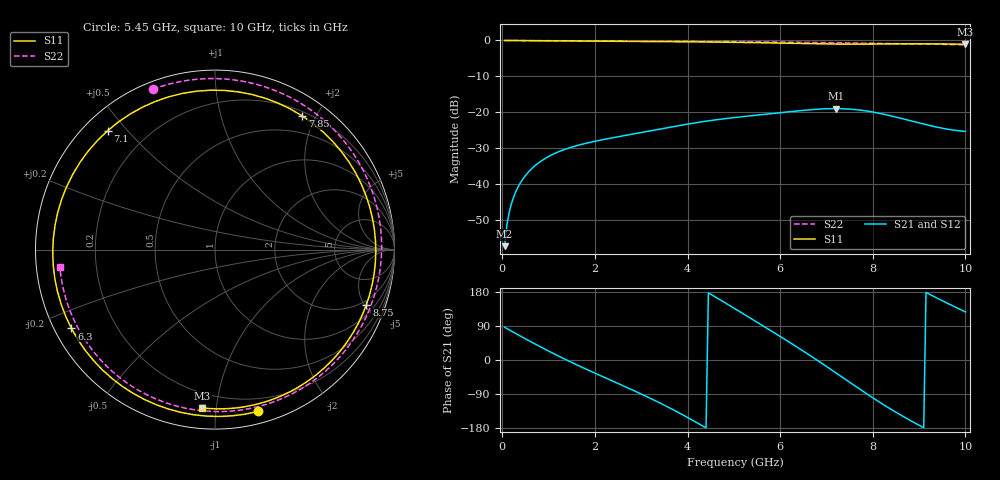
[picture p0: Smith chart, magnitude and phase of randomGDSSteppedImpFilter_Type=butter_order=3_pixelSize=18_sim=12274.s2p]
! freq	dB(S11)	phase(S11)	dB(S12)	phase(S12)
!  dB(S21)	phase(S21)	dB(S22)	phase(S22)
!S-par simulation data
#  GHz  S  DB  R 50
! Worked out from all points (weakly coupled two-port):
!   200 points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, 50 MHz to 10 GHz, reference 50 ohm
!   highest |S21| = -18.96 dB at 7.2 GHz (marker M1); lowest = -57.2 dB at 50 MHz (marker M2)
!   lowest |S11| = -1.1 dB at 10 GHz (marker M3), VSWR 16.38, Z = 5.64 - j45.9 ohm
!   |S11| at or under -10 dB: nowhere
!   |S22| runs from -1.2 to 0.0 dB; largest |S21 - S12| = 0
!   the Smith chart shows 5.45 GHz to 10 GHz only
!   S11 on the Smith chart (normalised r, x): 5.45 GHz: 0.09, -1.30; 6.3 GHz: 0.05, -0.26; 7.1 GHz: 0.07, +0.44; 7.85 GHz: 0.26, +1.82; 8.75 GHz: 1.64, -5.18; 10 GHz: 0.11, -0.92
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0.05  -0.00 -4.2  -57.24 86.3  -57.24 86.3  -0.00 -2.7
0.2  -0.02 -16.7  -45.29 76.1  -45.29 76.1  -0.01 -10.8
0.5  -0.05 -41.2  -37.59 55.9  -37.59 55.9  -0.04 -26.8
1.1  -0.11 -88.0  -31.63 17.4  -31.63 17.4  -0.08 -57.7
1.75  -0.15 -135.1  -28.79 -20.8  -28.79 -20.8  -0.11 -88.9
2.55  -0.21 169.4  -26.68 -64.7  -26.68 -64.7  -0.15 -124.0
3.4  -0.28 106.5  -24.66 -113.2  -24.66 -113.2  -0.19 -158.9
3.85  -0.34 69.4  -23.61 -141.6  -23.61 -141.6  -0.22 -177.2
4.35  -0.41 25.2  -22.56 -175.7  -22.56 -175.7  -0.26 162.1
4.7  -0.47 -6.8  -21.93 159.1  -21.93 159.1  -0.29 146.9
5.05  -0.53 -38.9  -21.39 133.4  -21.39 133.4  -0.32 130.9
5.45  -0.60 -75.1  -20.84 103.6  -20.84 103.6  -0.37 111.2
5.85  -0.69 -110.7  -20.30 73.6  -20.30 73.6  -0.42 89.9
6.3  -0.80 -151.2  -19.70 39.1  -19.70 39.1  -0.48 63.5
6.7  -0.90 171.4  -19.23 7.5  -19.23 7.5  -0.55 38.1
7.1  -0.99 132.1  -18.98 -25.3  -18.98 -25.3  -0.62 11.1
7.2  -1.00 122.1  -18.96 -33.6  -18.96 -33.6  -0.63 4.2
7.85  -1.02 56.8  -19.59 -87.7  -19.59 -87.7  -0.75 -41.0
8.35  -0.97 11.4  -20.86 -126.8  -20.86 -126.8  -0.84 -74.5
8.75  -0.94 -20.0  -22.14 -155.4  -22.14 -155.4  -0.92 -100.0
9.35  -0.95 -59.2  -24.03 165.7  -24.03 165.7  -1.06 -136.0
10  -1.06 -94.5  -25.31 126.8  -25.31 126.8  -1.21 -173.6
